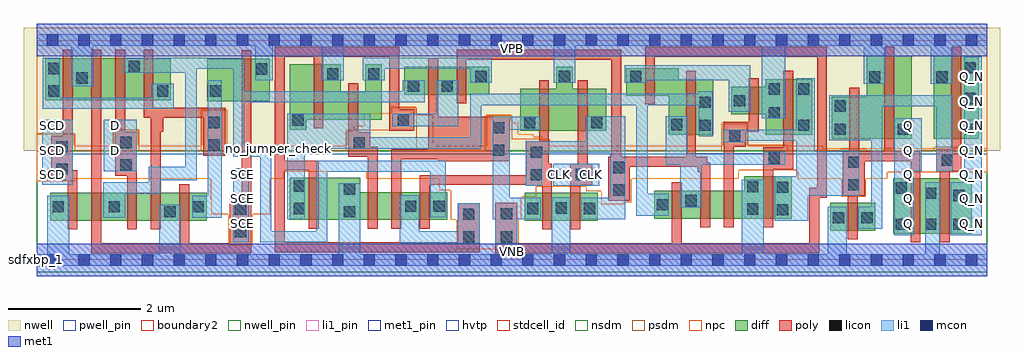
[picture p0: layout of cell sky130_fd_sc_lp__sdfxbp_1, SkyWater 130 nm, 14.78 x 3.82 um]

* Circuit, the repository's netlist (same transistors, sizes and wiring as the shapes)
* Copyright 2020 The SkyWater PDK Authors
*
* Licensed under the Apache License, Version 2.0 (the "License");
* you may not use this file except in compliance with the License.
* You may obtain a copy of the License at
*
*     https://www.apache.org/licenses/LICENSE-2.0
*
* Unless required by applicable law or agreed to in writing, software
* distributed under the License is distributed on an "AS IS" BASIS,
* WITHOUT WARRANTIES OR CONDITIONS OF ANY KIND, either express or implied.
* See the License for the specific language governing permissions and
* limitations under the License.
*
* SPDX-License-Identifier: Apache-2.0

.SUBCKT sky130_fd_sc_lp__sdfxbp_1 CLK D SCD SCE VGND VNB VPB VPWR Q Q_N
*.PININFO CLK:I D:I SCD:I SCE:I VGND:I VNB:I VPB:I VPWR:I Q:O Q_N:O
MI652 M1 clkpos S0 VNB sky130_fd_pr__nfet_01v8 m=1 w=0.42U l=0.15U mult=1 sa=0.265
+ sb=0.265 sd=0.28 area=0.063 perim=1.14
MI649 S1 S0 VGND VNB sky130_fd_pr__nfet_01v8 m=1 w=0.64U l=0.15U mult=1 sa=0.265
+ sb=0.265 sd=0.28 area=0.063 perim=1.14
MI634 M1 M0 VGND VNB sky130_fd_pr__nfet_01v8 m=1 w=0.64U l=0.15U mult=1 sa=0.265
+ sb=0.265 sd=0.28 area=0.063 perim=1.14
MI636 clkpos clkneg VGND VNB sky130_fd_pr__nfet_01v8 m=1 w=0.42U l=0.15U mult=1
+ sa=0.265 sb=0.265 sd=0.28 area=0.063 perim=1.14
MI639 sceb SCE VGND VNB sky130_fd_pr__nfet_01v8 m=1 w=0.42U l=0.15U mult=1 sa=0.265
+ sb=0.265 sd=0.28 area=0.063 perim=1.14
MI657 M0 clkpos net155 VNB sky130_fd_pr__nfet_01v8 m=1 w=0.42U l=0.15U mult=1 sa=0.265
+ sb=0.265 sd=0.28 area=0.063 perim=1.14
MI656 net155 M1 VGND VNB sky130_fd_pr__nfet_01v8 m=1 w=0.42U l=0.15U mult=1 sa=0.265
+ sb=0.265 sd=0.28 area=0.063 perim=1.14
MI641 net151 S1 VGND VNB sky130_fd_pr__nfet_01v8 m=1 w=0.42U l=0.15U mult=1 sa=0.265
+ sb=0.265 sd=0.28 area=0.063 perim=1.14
MI646 Q S1 VGND VNB sky130_fd_pr__nfet_01v8 m=1 w=0.84U l=0.15U mult=1 sa=0.265
+ sb=0.265 sd=0.28 area=0.063 perim=1.14
MI661 Q_N net203 VGND VNB sky130_fd_pr__nfet_01v8 m=1 w=0.84U l=0.15U mult=1 sa=0.265
+ sb=0.265 sd=0.28 area=0.063 perim=1.14
MI662 net203 S1 VGND VNB sky130_fd_pr__nfet_01v8 m=1 w=0.42U l=0.15U mult=1 sa=0.265
+ sb=0.265 sd=0.28 area=0.063 perim=1.14
MI648 db clkneg M0 VNB sky130_fd_pr__nfet_01v8 m=1 w=0.42U l=0.15U mult=1 sa=0.265
+ sb=0.265 sd=0.28 area=0.063 perim=1.14
MI635 clkneg CLK VGND VNB sky130_fd_pr__nfet_01v8 m=1 w=0.42U l=0.15U mult=1 sa=0.265
+ sb=0.265 sd=0.28 area=0.063 perim=1.14
MI642 S0 clkneg net151 VNB sky130_fd_pr__nfet_01v8 m=1 w=0.42U l=0.15U mult=1 sa=0.265
+ sb=0.265 sd=0.28 area=0.063 perim=1.14
MI98 db D n0 VNB sky130_fd_pr__nfet_01v8 m=1 w=0.42U l=0.15U mult=1 sa=0.265 sb=0.265
+ sd=0.28 area=0.525 perim=3.1
MI103 n1 SCD VGND VNB sky130_fd_pr__nfet_01v8 m=1 w=0.42U l=0.15U mult=1 sa=0.265
+ sb=0.265 sd=0.28 area=0.525 perim=3.1
MI120 db SCE n1 VNB sky130_fd_pr__nfet_01v8 m=1 w=0.42U l=0.15U mult=1 sa=0.265
+ sb=0.265 sd=0.28 area=0.525 perim=3.1
MI104 n0 sceb VGND VNB sky130_fd_pr__nfet_01v8 m=1 w=0.42U l=0.15U mult=1 sa=0.265
+ sb=0.265 sd=0.28 area=0.525 perim=3.1
MI643 net206 S1 VPWR VPB sky130_fd_pr__pfet_01v8_hvt m=1 w=0.42U l=0.15U mult=1
+ sa=0.265 sb=0.265 sd=0.28 area=0.063 perim=1.14
MI640 sceb SCE VPWR VPB sky130_fd_pr__pfet_01v8_hvt m=1 w=0.64U l=0.15U mult=1
+ sa=0.265 sb=0.265 sd=0.28 area=0.063 perim=1.14
MI658 net243 M1 VPWR VPB sky130_fd_pr__pfet_01v8_hvt m=1 w=0.42U l=0.15U mult=1
+ sa=0.265 sb=0.265 sd=0.28 area=0.063 perim=1.14
MI645 Q S1 VPWR VPB sky130_fd_pr__pfet_01v8_hvt m=1 w=1.26U l=0.15U mult=1 sa=0.265
+ sb=0.265 sd=0.28 area=0.063 perim=1.14
MI651 db clkpos M0 VPB sky130_fd_pr__pfet_01v8_hvt m=1 w=0.42U l=0.15U mult=1 sa=0.265
+ sb=0.265 sd=0.28 area=0.063 perim=1.14
MI653 M1 clkneg S0 VPB sky130_fd_pr__pfet_01v8_hvt m=1 w=0.84U l=0.15U mult=1 sa=0.265
+ sb=0.265 sd=0.28 area=0.063 perim=1.14
MI659 M0 clkneg net243 VPB sky130_fd_pr__pfet_01v8_hvt m=1 w=0.42U l=0.15U mult=1
+ sa=0.265 sb=0.265 sd=0.28 area=0.063 perim=1.14
MI660 Q_N net203 VPWR VPB sky130_fd_pr__pfet_01v8_hvt m=1 w=1.26U l=0.15U mult=1
+ sa=0.265 sb=0.265 sd=0.28 area=0.063 perim=1.14
MI638 clkneg CLK VPWR VPB sky130_fd_pr__pfet_01v8_hvt m=1 w=0.64U l=0.15U mult=1
+ sa=0.265 sb=0.265 sd=0.28 area=0.063 perim=1.14
MI637 clkpos clkneg VPWR VPB sky130_fd_pr__pfet_01v8_hvt m=1 w=0.64U l=0.15U mult=1
+ sa=0.265 sb=0.265 sd=0.28 area=0.063 perim=1.14
MI650 S1 S0 VPWR VPB sky130_fd_pr__pfet_01v8_hvt m=1 w=0.84U l=0.15U mult=1 sa=0.265
+ sb=0.265 sd=0.28 area=0.063 perim=1.14
MI644 S0 clkpos net206 VPB sky130_fd_pr__pfet_01v8_hvt m=1 w=0.42U l=0.15U mult=1
+ sa=0.265 sb=0.265 sd=0.28 area=0.063 perim=1.14
MI647 net203 S1 VPWR VPB sky130_fd_pr__pfet_01v8_hvt m=1 w=0.64U l=0.15U mult=1
+ sa=0.265 sb=0.265 sd=0.28 area=0.063 perim=1.14
MI664 M1 M0 VPWR VPB sky130_fd_pr__pfet_01v8_hvt m=1 w=0.84U l=0.15U mult=1 sa=0.265
+ sb=0.265 sd=0.28 area=0.063 perim=1.14
MI107 p0 SCE VPWR VPB sky130_fd_pr__pfet_01v8_hvt m=1 w=0.64U l=0.15U mult=1 sa=0.265
+ sb=0.265 sd=0.28 area=0.063 perim=1.14
MI94 db D p0 VPB sky130_fd_pr__pfet_01v8_hvt m=1 w=0.64U l=0.15U mult=1 sa=0.265
+ sb=0.265 sd=0.28 area=0.063 perim=1.14
MI108 p1 SCD VPWR VPB sky130_fd_pr__pfet_01v8_hvt m=1 w=0.64U l=0.15U mult=1 sa=0.265
+ sb=0.265 sd=0.28 area=0.063 perim=1.14
MI101 db sceb p1 VPB sky130_fd_pr__pfet_01v8_hvt m=1 w=0.64U l=0.15U mult=1 sa=0.265
+ sb=0.265 sd=0.28 area=0.063 perim=1.14
.ENDS sky130_fd_sc_lp__sdfxbp_1

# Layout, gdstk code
import gdstk
lib = gdstk.Library(unit=1e-6, precision=1e-09)
def R(c, l, rs):  # rectangles x0, y0, x1, y1
    for r in rs: c.add(gdstk.rectangle(r[:2], r[2:], *l))
def A(c, l, x, y, w, h, nx, ny, dx, dy):  # array of equal rectangles
    R(c, l, [(x+i*dx, y+j*dy, x+i*dx+w, y+j*dy+h) for i in range(nx) for j in range(ny)])
def P(c, l, *ps):  # polygons
    for p in ps: c.add(gdstk.Polygon(p, *l))
nwell_pin = (64, 16)
nwell = (64, 20)
diff = (65, 20)
poly = (66, 20)
licon = (66, 44)
li1_pin = (67, 16)
li1 = (67, 20)
mcon = (67, 44)
met1_pin = (68, 16)
met1 = (68, 20)
hvtp = (78, 44)
stdcell_id = (81, 4)
nsdm = (93, 44)
psdm = (94, 20)
npc = (95, 20)
pwell_pin = (122, 16)
boundary2 = (236, 0)

sky130_fd_sc_lp__sdfxbp_ = lib.new_cell('sky130_fd_sc_lp__sdfxbp_1')
R(sky130_fd_sc_lp__sdfxbp_, nwell_pin, [(0,3.085,14.4,3.33)])
R(sky130_fd_sc_lp__sdfxbp_, nwell, [(-0.19,1.655,14.59,3.52)])
R(sky130_fd_sc_lp__sdfxbp_, diff, [(12.97,0.395,14.165,1.235), (12.02,0.445,12.7,0.865), (0.205,0.595,2.575,1.015), (7.39,0.595,8.5,1.015), (13.585,1.835,14.265,3.095), (2.585,2.405,3.535,3.045), (0.135,2.415,2.035,3.055), (5.565,2.505,6.855,2.925)])
P(sky130_fd_sc_lp__sdfxbp_, diff, [(5.23,2.965),(4.98,2.965),(4.98,2.545),(4.61,2.545),(4.61,2.965),(3.835,2.965),(3.835,1.975),(4.085,1.975),(4.085,2.125),(5.23,2.125)],
  [(6.22,1.025),(4.905,1.025),(4.905,1.245),(3.835,1.245),(3.835,0.605),(6.22,0.605)],
  [(8.63,2.595),(8.12,2.595),(8.12,2.925),(7.87,2.925),(7.87,2.595),(7.325,2.595),(7.325,1.955),(8.63,1.955)],
  [(10.25,2.735),(9.725,2.735),(9.725,2.905),(8.93,2.905),(8.93,2.485),(9.57,2.485),(9.57,1.895),(10.25,1.895)],
  [(11.44,1.265),(10.72,1.265),(10.72,1.045),(9.355,1.045),(9.355,0.625),(11.44,0.625)],
  [(11.745,2.735),(11.045,2.735),(11.045,2.625),(10.52,2.625),(10.52,2.205),(11.045,2.205),(11.045,1.895),(11.745,1.895)],
  [(13.25,3.095),(12.57,3.095),(12.57,2.475),(12.045,2.475),(12.045,1.835),(13.25,1.835)])
P(sky130_fd_sc_lp__sdfxbp_, poly, [(0.62,1.36),(0.55,1.36),(0.55,3.185),(0.4,3.185),(0.4,1.88),(0.22,1.88),(0.22,1.21),(0.47,1.21),(0.47,0.465),(0.62,0.465)],
  [(1.52,1.945),(1.34,1.945),(1.34,3.185),(1.19,3.185),(1.19,1.275),(1.37,1.275),(1.37,0.465),(1.52,0.465)],
  [(2.855,2.305),(1.77,2.305),(1.77,3.185),(1.62,3.185),(1.62,2.155),(1.73,2.155),(1.73,0.465),(1.88,0.465),(1.88,1.945),(1.92,1.945),(1.92,2.155),(2.525,2.155),(2.525,1.575),(2.855,1.575)],
  [(3.255,3.175),(3.105,3.175),(3.105,0.935),(2.925,0.935),(2.925,0.255),(2.31,0.255),(2.31,1.145),(2.16,1.145),(2.16,0.255),(0.98,0.255),(0.98,3.185),(0.83,3.185),(0.83,0.105),(3.255,0.105)],
  [(5.165,1.715),(5.05,1.715),(5.05,1.935),(4.87,1.935),(4.87,2.675),(4.72,2.675),(4.72,1.565),(5.015,1.565),(5.015,0.475),(5.165,0.475)],
  [(6.71,0.855),(6.38,0.855),(6.38,0.265),(3.76,0.265),(3.76,1.355),(4.12,1.355),(4.12,0.475),(4.27,0.475),(4.27,1.505),(3.76,1.505),(3.76,3.075),(4.195,3.075),(4.195,1.995),(4.345,1.995),(4.345,3.075),(5.34,3.075),(5.34,1.955),(5.72,1.955),(5.72,2.285),(5.49,2.285),(5.49,3.225),(3.61,3.225),(3.61,0.115),(6.71,0.115)],
  [(7.165,2.165),(6.08,2.165),(6.08,3.055),(5.93,3.055),(5.93,1.675),(5.375,1.675),(5.375,0.475),(5.525,0.475),(5.525,1.525),(6.08,1.525),(6.08,1.495),(7.165,1.495)],
  [(7.805,1.455),(7.76,1.455),(7.76,2.725),(7.61,2.725),(7.61,1.795),(7.405,1.795),(7.405,1.285),(5.805,1.285),(5.805,0.475),(5.955,0.475),(5.955,1.135),(7.405,1.135),(7.405,1.125),(7.655,1.125),(7.655,0.465),(7.805,0.465)],
  [(8.415,1.46),(8.345,1.46),(8.345,2.725),(8.195,2.725),(8.195,1.46),(8.085,1.46),(8.085,0.465),(8.235,0.465),(8.235,1.13),(8.415,1.13)],
  [(10.2,1.475),(10.16,1.475),(10.16,1.565),(9.985,1.565),(9.985,2.865),(9.835,2.865),(9.835,1.565),(8.855,1.565),(8.855,3.185),(6.36,3.185),(6.36,2.375),(6.51,2.375),(6.51,3.035),(8.705,3.035),(8.705,1.565),(8.655,1.565),(8.655,0.895),(8.985,0.895),(8.985,1.415),(10.01,1.415),(10.01,1.325),(10.05,1.325),(10.05,0.495),(10.2,0.495)],
  [(10.935,2.755),(10.785,2.755),(10.785,2.095),(10.41,2.095),(10.41,0.495),(10.56,0.495),(10.56,1.715),(10.74,1.715),(10.74,1.945),(10.935,1.945)],
  [(11.46,2.865),(11.31,2.865),(11.31,1.705),(11.005,1.705),(11.005,0.495),(11.155,0.495),(11.155,1.375),(11.46,1.375)],
  [(11.97,3.225),(9.215,3.225),(9.215,2.355),(9.365,2.355),(9.365,3.075),(11.82,3.075),(11.82,1.09),(11.7,1.09),(11.7,0.255),(9.77,0.255),(9.77,1.175),(9.62,1.175),(9.62,0.255),(7.28,0.255),(7.28,0.865),(6.95,0.865),(6.95,0.105),(11.85,0.105),(11.85,0.94),(11.97,0.94)],
  [(13.385,1.645),(12.985,1.645),(12.985,3.225),(12.835,3.225),(12.835,1.645),(12.46,1.645),(12.46,2.605),(12.31,2.605),(12.31,1.645),(12.21,1.645),(12.21,0.975),(12.285,0.975),(12.285,0.315),(12.435,0.315),(12.435,0.975),(12.54,0.975),(12.54,1.495),(13.235,1.495),(13.235,0.265),(13.385,0.265)],
  [(14,3.225),(13.85,3.225),(13.85,1.675),(13.625,1.675),(13.625,1.345),(13.68,1.345),(13.68,0.265),(13.83,0.265),(13.83,1.345),(14,1.345)])
A(sky130_fd_sc_lp__sdfxbp_, licon, 14.055, 1.895, 0.17, 0.17, 1, 3, 0, 0.465)
R(sky130_fd_sc_lp__sdfxbp_, licon, [(6.46,0.265,6.63,0.435), (7.03,0.265,7.2,0.435), (3.005,0.345,3.175,0.515), (13.01,0.455,13.18,0.625), (13.455,0.455,13.625,0.625), (13.885,0.455,14.055,0.625), (12.06,0.555,12.23,0.725), (12.49,0.555,12.66,0.725), (6.46,0.605,6.63,0.775), (7.03,0.615,7.2,0.785), (1.935,0.645,2.105,0.815), (4.655,0.645,4.825,0.815), (11.21,0.675,11.38,0.845), (3.005,0.685,3.175,0.855), (10.76,0.685,10.93,0.855), (3.895,0.695,4.065,0.865), (7.43,0.695,7.6,0.865), (8.29,0.695,8.46,0.865), (7.86,0.7,8.03,0.87), (0.245,0.72,0.415,0.89), (1.09,0.72,1.26,0.89), (2.365,0.72,2.535,0.89), (5.58,0.73,5.75,0.9), (6.01,0.73,6.18,0.9), (9.395,0.75,9.565,0.92), (9.825,0.815,9.995,0.985), (13.885,0.89,14.055,1.06), (13.455,0.925,13.625,1.095), (8.735,0.975,8.905,1.145), (4.655,0.985,4.825,1.155), (13.01,1.005,13.18,1.175), (11.21,1.015,11.38,1.185), (10.76,1.025,10.93,1.195), (3.895,1.035,4.065,1.205), (12.29,1.055,12.46,1.225), (7.485,1.205,7.655,1.375), (8.165,1.21,8.335,1.38), (0.3,1.29,0.47,1.46), (8.735,1.315,8.905,1.485), (1.27,1.355,1.44,1.525), (12.29,1.395,12.46,1.565), (13.705,1.425,13.875,1.595), (11.085,1.455,11.255,1.625), (7.485,1.545,7.655,1.715), (6.915,1.575,7.085,1.745), (0.3,1.63,0.47,1.8), (2.605,1.655,2.775,1.825), (4.8,1.685,4.97,1.855), (1.27,1.695,1.44,1.865), (10.49,1.795,10.66,1.965), (12.085,1.895,12.255,2.065), (13.04,1.895,13.21,2.065), (6.915,1.915,7.085,2.085), (10.04,1.955,10.21,2.125), (11.535,1.955,11.705,2.125), (9.61,1.965,9.78,2.135), (2.605,1.995,2.775,2.165), (7.385,1.995,7.555,2.165), (8.4,1.995,8.57,2.165), (3.875,2.035,4.045,2.205), (5.47,2.035,5.64,2.205), (11.085,2.145,11.255,2.315), (12.085,2.245,12.255,2.415), (10.04,2.305,10.21,2.475), (10.56,2.325,10.73,2.495), (0.175,2.475,0.345,2.645), (1.825,2.475,1.995,2.645), (2.625,2.475,2.795,2.645), (11.085,2.505,11.255,2.675), (11.535,2.505,11.705,2.675), (5.625,2.545,5.795,2.715), (6.135,2.545,6.305,2.715), (0.605,2.67,0.775,2.84), (12.61,2.685,12.78,2.855), (13.625,2.685,13.795,2.855), (6.645,2.695,6.815,2.865), (7.91,2.695,8.08,2.865), (8.99,2.695,9.16,2.865), (4.4,2.735,4.57,2.905), (5.02,2.735,5.19,2.905), (3.325,2.805,3.495,2.975), (0.175,2.815,0.345,2.985), (1.395,2.845,1.565,3.015)])
A(sky130_fd_sc_lp__sdfxbp_, li1_pin, 3.035, 0.47, 0.17, 0.17, 1, 3, 0, 0.37)
A(sky130_fd_sc_lp__sdfxbp_, li1_pin, 13.115, 0.47, 0.17, 0.17, 1, 5, 0, 0.37)
A(sky130_fd_sc_lp__sdfxbp_, li1_pin, 14.075, 0.47, 0.17, 0.17, 1, 7, 0, 0.37)
A(sky130_fd_sc_lp__sdfxbp_, li1_pin, 0.155, 1.21, 0.17, 0.17, 1, 3, 0, 0.37)
R(sky130_fd_sc_lp__sdfxbp_, li1_pin, [(7.835,1.21,8.005,1.38), (8.315,1.21,8.485,1.38), (1.115,1.58,1.285,1.75), (1.115,1.95,1.285,2.12)])
R(sky130_fd_sc_lp__sdfxbp_, li1, [(2.975,0.265,3.215,1.39), (7.825,1.12,8.52,1.455), (0.085,1.14,0.55,2.12), (1.02,1.345,1.52,2.12)])
P(sky130_fd_sc_lp__sdfxbp_, li1, [(2.075,2.665),(1.745,2.665),(1.745,2.46),(0.355,2.46),(0.355,3.065),(0.095,3.065),(0.095,2.29),(2.075,2.29)],
  [(2.805,2.725),(2.595,2.725),(2.595,0.97),(2.355,0.97),(2.355,0.64),(2.805,0.64)],
  [(6.2,1.505),(4.235,1.505),(4.235,0.435),(3.555,0.435),(3.555,1.73),(3.145,1.73),(3.145,2.385),(5.875,2.385),(5.875,2.725),(5.545,2.725),(5.545,2.555),(3.145,2.555),(3.145,3.065),(1.315,3.065),(1.315,2.835),(2.255,2.835),(2.255,1.415),(1.7,1.415),(1.7,1.175),(1.01,1.175),(1.01,0.64),(1.34,0.64),(1.34,1.005),(1.87,1.005),(1.87,1.205),(2.425,1.205),(2.425,2.895),(2.975,2.895),(2.975,1.56),(3.385,1.56),(3.385,0.265),(4.405,0.265),(4.405,1.335),(5.965,1.335),(5.965,0.65),(6.2,0.65)],
  [(6.385,2.725),(6.055,2.725),(6.055,2.215),(5.39,2.215),(5.39,2.025),(6.385,2.025)],
  [(6.71,0.855),(6.38,0.855),(6.38,0.435),(5.795,0.435),(5.795,0.98),(5.5,0.98),(5.5,0.255),(6.71,0.255)],
  [(14.315,3.075),(14.045,3.075),(14.045,1.175),(13.845,1.175),(13.845,0.375),(14.315,0.375)],
  [(13.405,2.145),(12.99,2.145),(12.99,0.375),(13.285,0.375),(13.285,1.345),(13.405,1.345)],
  [(6.895,3.065),(4.94,3.065),(4.94,2.725),(5.27,2.725),(5.27,2.895),(6.565,2.895),(6.565,2.685),(6.895,2.685)],
  [(14.4,3.415),(0,3.415),(0,3.245),(0.525,3.245),(0.525,2.63),(0.855,2.63),(0.855,3.245),(3.315,3.245),(3.315,2.725),(3.575,2.725),(3.575,3.245),(4.32,3.245),(4.32,2.725),(4.65,2.725),(4.65,3.245),(7.83,3.245),(7.83,2.685),(8.16,2.685),(8.16,3.245),(10.98,3.245),(10.98,2.145),(11.335,2.145),(11.335,3.245),(12.53,3.245),(12.53,2.665),(12.86,2.665),(12.86,3.245),(13.545,3.245),(13.545,2.665),(13.875,2.665),(13.875,3.245),(14.4,3.245)],
  [(14.4,0.085),(13.675,0.085),(13.675,1.175),(13.455,1.175),(13.455,0.085),(12.27,0.085),(12.27,0.805),(11.98,0.805),(11.98,0.085),(11.01,0.085),(11.01,1.215),(10.68,1.215),(10.68,0.085),(8.08,0.085),(8.08,0.95),(7.805,0.95),(7.805,0.085),(4.905,0.085),(4.905,1.165),(4.575,1.165),(4.575,0.085),(2.185,0.085),(2.185,0.835),(1.855,0.835),(1.855,0.085),(0.495,0.085),(0.495,0.97),(0.165,0.97),(0.165,0.085),(0,0.085),(0,-0.085),(14.4,-0.085)],
  [(7.635,0.945),(7.165,0.945),(7.165,1.975),(7.635,1.975),(7.635,2.165),(6.905,2.165),(6.905,0.615),(6.95,0.615),(6.95,0.255),(7.28,0.255),(7.28,0.615),(7.635,0.615)],
  [(8.915,2.175),(8.32,2.175),(8.32,1.795),(7.405,1.795),(7.405,1.125),(7.655,1.125),(7.655,1.625),(8.69,1.625),(8.69,0.945),(8.25,0.945),(8.25,0.615),(8.915,0.615)],
  [(10.24,2.555),(10.02,2.555),(10.02,2.515),(6.565,2.515),(6.565,1.855),(5.05,1.855),(5.05,2.215),(3.795,2.215),(3.795,0.615),(4.065,0.615),(4.065,1.685),(6.735,1.685),(6.735,2.345),(9.085,2.345),(9.085,0.67),(9.575,0.67),(9.575,1),(9.255,1),(9.255,2.345),(10.03,2.345),(10.03,1.875),(10.24,1.875)],
  [(10.81,2.945),(8.91,2.945),(8.91,2.685),(9.24,2.685),(9.24,2.725),(10.48,2.725),(10.48,2.245),(10.81,2.245)],
  [(11.335,1.635),(11.005,1.635),(11.005,1.615),(9.86,1.615),(9.86,2.175),(9.53,2.175),(9.53,1.445),(9.745,1.445),(9.745,0.795),(10.075,0.795),(10.075,1.445),(11.335,1.445)],
  [(12.46,1.645),(11.785,1.645),(11.785,2.755),(11.505,2.755),(11.505,1.975),(10.41,1.975),(10.41,1.785),(10.74,1.785),(10.74,1.805),(11.505,1.805),(11.505,1.265),(11.18,1.265),(11.18,0.595),(11.685,0.595),(11.685,0.975),(12.46,0.975)],
  [(13.875,2.495),(12.005,2.495),(12.005,1.815),(12.64,1.815),(12.64,0.805),(12.44,0.805),(12.44,0.475),(12.81,0.475),(12.81,2.325),(13.625,2.325),(13.625,1.345),(13.875,1.345)])
A(sky130_fd_sc_lp__sdfxbp_, mcon, 0.155, -0.085, 0.17, 0.17, 30, 2, 0.48, 3.33)
R(sky130_fd_sc_lp__sdfxbp_, met1_pin, [(0,0,14.4,0.245), (0,3.085,14.4,3.33)])
R(sky130_fd_sc_lp__sdfxbp_, met1, [(0,-0.245,14.4,0.245), (0,3.085,14.4,3.575)])
R(sky130_fd_sc_lp__sdfxbp_, hvtp, [(0,1.6,14.4,3.33)])
R(sky130_fd_sc_lp__sdfxbp_, stdcell_id, [(0,0,14.4,3.33)])
R(sky130_fd_sc_lp__sdfxbp_, nsdm, [(0,-0.19,14.4,1.655)])
P(sky130_fd_sc_lp__sdfxbp_, psdm, [(14.4,3.52),(0,3.52),(0,1.91),(0.58,1.91),(0.58,1.655),(1.16,1.655),(1.16,1.975),(1.55,1.975),(1.55,1.655),(2.495,1.655),(2.495,2.275),(2.885,2.275),(2.885,1.655),(4.69,1.655),(4.69,1.965),(5.36,1.965),(5.36,2.315),(5.75,2.315),(5.75,1.655),(6.805,1.655),(6.805,2.195),(7.195,2.195),(7.195,1.825),(7.765,1.825),(7.765,1.655),(10.38,1.655),(10.38,2.075),(10.77,2.075),(10.77,1.735),(11.365,1.735),(11.365,1.655),(12.18,1.655),(12.18,1.675),(12.57,1.675),(12.57,1.655),(13.595,1.655),(13.595,1.705),(13.985,1.705),(13.985,1.655),(14.4,1.655)])
P(sky130_fd_sc_lp__sdfxbp_, npc, [(14.4,1.695),(11.905,1.695),(11.905,1.73),(10.76,1.73),(10.76,2.065),(10.39,2.065),(10.39,1.73),(7.755,1.73),(7.755,1.815),(7.65,1.815),(7.65,1.865),(7.52,1.865),(7.52,1.905),(7.295,1.905),(7.295,2.08),(7.185,2.08),(7.185,2.185),(6.815,2.185),(6.815,1.73),(6.005,1.73),(6.005,2.2),(5.74,2.2),(5.74,2.305),(5.37,2.305),(5.37,2.22),(4.96,2.22),(4.96,2.035),(4.805,2.035),(4.805,1.955),(4.7,1.955),(4.7,1.73),(2.875,1.73),(2.875,2.265),(2.505,2.265),(2.505,1.73),(1.54,1.73),(1.54,1.965),(1.17,1.965),(1.17,1.73),(0.57,1.73),(0.57,1.9),(0,1.9),(0,1.19),(0.57,1.19),(0.57,1.23),(2.64,1.23),(2.64,0.915),(2.645,0.915),(2.645,0.69),(2.905,0.69),(2.905,0.225),(3.275,0.225),(3.275,0.69),(3.54,0.69),(3.54,1.23),(3.745,1.23),(3.745,1.335),(4.995,1.335),(4.995,1.23),(6.095,1.23),(6.095,1.055),(6.27,1.055),(6.27,0.61),(6.36,0.61),(6.36,0.165),(7.3,0.165),(7.3,0.62),(7.34,0.62),(7.34,0.955),(7.565,0.955),(7.565,1.105),(8.325,1.105),(8.325,1.04),(8.55,1.04),(8.55,0.845),(8.9,0.845),(8.9,0.875),(9.005,0.875),(9.005,1.23),(10.63,1.23),(10.63,1.355),(11.53,1.355),(11.53,1.23),(12.19,1.23),(12.19,0.955),(12.56,0.955),(12.56,1.23),(12.88,1.23),(12.88,1.325),(14.4,1.325)])
R(sky130_fd_sc_lp__sdfxbp_, pwell_pin, [(0,0,14.4,0.245)])
R(sky130_fd_sc_lp__sdfxbp_, boundary2, [(0,0,14.4,3.33)])
sky130_fd_sc_lp__sdfxbp_.add(gdstk.Label('VNB', (7.2,0.123), layer=64, texttype=59))
sky130_fd_sc_lp__sdfxbp_.add(gdstk.Label('VPB', (7.2,3.208), layer=64, texttype=5))
sky130_fd_sc_lp__sdfxbp_.add(gdstk.Label('sdfxbp_1', (0,0), layer=83, texttype=44))
sky130_fd_sc_lp__sdfxbp_.add(gdstk.Label('no_jumper_check', (3.67,1.69), layer=83, texttype=44))
sky130_fd_sc_lp__sdfxbp_.add(gdstk.Label('VPWR', (7.2,3.208), layer=68, texttype=5))
sky130_fd_sc_lp__sdfxbp_.add(gdstk.Label('VGND', (7.2,0.123), layer=68, texttype=5))
sky130_fd_sc_lp__sdfxbp_.add(gdstk.Label('CLK', (7.92,1.295), layer=67, texttype=5))
sky130_fd_sc_lp__sdfxbp_.add(gdstk.Label('CLK', (8.4,1.295), layer=67, texttype=5))
sky130_fd_sc_lp__sdfxbp_.add(gdstk.Label('SCE', (3.12,0.555), layer=67, texttype=5))
sky130_fd_sc_lp__sdfxbp_.add(gdstk.Label('SCE', (3.12,0.925), layer=67, texttype=5))
sky130_fd_sc_lp__sdfxbp_.add(gdstk.Label('SCE', (3.12,1.295), layer=67, texttype=5))
sky130_fd_sc_lp__sdfxbp_.add(gdstk.Label('SCD', (0.24,1.295), layer=67, texttype=5))
sky130_fd_sc_lp__sdfxbp_.add(gdstk.Label('SCD', (0.24,1.665), layer=67, texttype=5))
sky130_fd_sc_lp__sdfxbp_.add(gdstk.Label('SCD', (0.24,2.035), layer=67, texttype=5))
sky130_fd_sc_lp__sdfxbp_.add(gdstk.Label('D', (1.2,1.665), layer=67, texttype=5))
sky130_fd_sc_lp__sdfxbp_.add(gdstk.Label('D', (1.2,2.035), layer=67, texttype=5))
sky130_fd_sc_lp__sdfxbp_.add(gdstk.Label('Q_N', (14.16,0.555), layer=67, texttype=5))
sky130_fd_sc_lp__sdfxbp_.add(gdstk.Label('Q_N', (14.16,0.925), layer=67, texttype=5))
sky130_fd_sc_lp__sdfxbp_.add(gdstk.Label('Q_N', (14.16,1.295), layer=67, texttype=5))
sky130_fd_sc_lp__sdfxbp_.add(gdstk.Label('Q_N', (14.16,1.665), layer=67, texttype=5))
sky130_fd_sc_lp__sdfxbp_.add(gdstk.Label('Q_N', (14.16,2.035), layer=67, texttype=5))
sky130_fd_sc_lp__sdfxbp_.add(gdstk.Label('Q_N', (14.16,2.405), layer=67, texttype=5))
sky130_fd_sc_lp__sdfxbp_.add(gdstk.Label('Q_N', (14.16,2.775), layer=67, texttype=5))
sky130_fd_sc_lp__sdfxbp_.add(gdstk.Label('Q', (13.2,0.555), layer=67, texttype=5))
sky130_fd_sc_lp__sdfxbp_.add(gdstk.Label('Q', (13.2,0.925), layer=67, texttype=5))
sky130_fd_sc_lp__sdfxbp_.add(gdstk.Label('Q', (13.2,1.295), layer=67, texttype=5))
sky130_fd_sc_lp__sdfxbp_.add(gdstk.Label('Q', (13.2,1.665), layer=67, texttype=5))
sky130_fd_sc_lp__sdfxbp_.add(gdstk.Label('Q', (13.2,2.035), layer=67, texttype=5))

lib.write_gds('sky130_fd_sc_lp__sdfxbp_1.gds')
